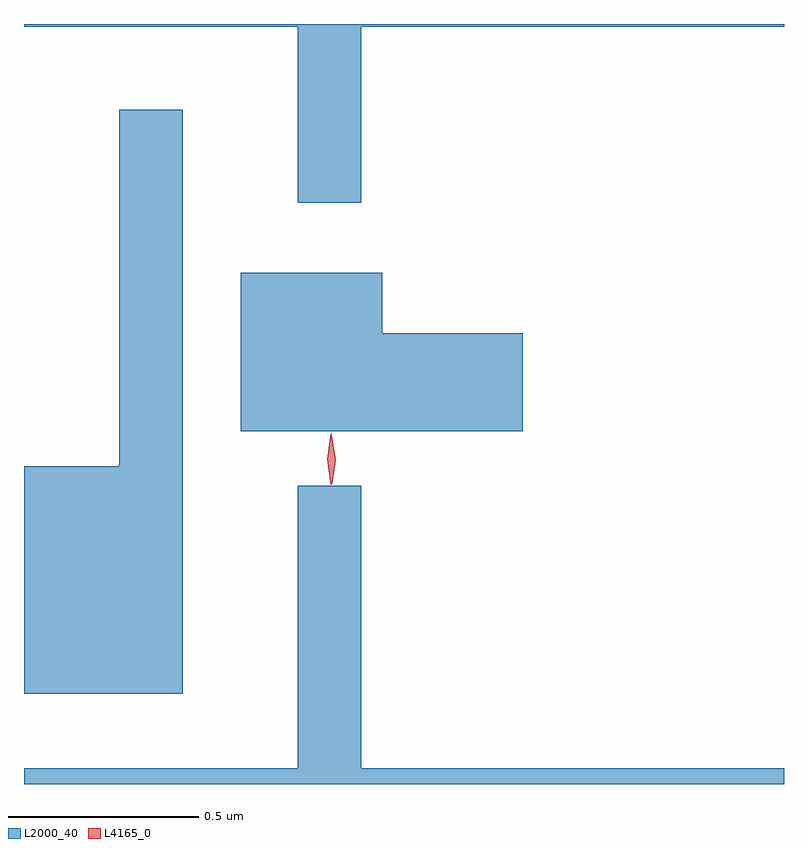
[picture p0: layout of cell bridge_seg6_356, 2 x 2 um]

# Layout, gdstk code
import gdstk
lib = gdstk.Library(unit=1e-6, precision=1e-09)
def P(c, l, *ps):  # polygons
    for p in ps: c.add(gdstk.Polygon(p, *l))
L2000_40 = (2000, 40)
L4165_0 = (4165, 0)

bridge_seg6_356 = lib.new_cell('bridge_seg6_356')
P(bridge_seg6_356, L2000_40, [(1282.889,1534.496),(1284.001,1534.496),(1284.001,1534.503),(1282.001,1534.503),(1282.001,1534.496),(1282.721,1534.496),(1282.721,1534.033),(1282.889,1534.033)],
  [(1282.419,1534.278),(1282.251,1534.278),(1282.251,1533.339),(1282.001,1533.339),(1282.001,1532.741),(1282.419,1532.741)],
  [(1283.314,1533.689),(1282.944,1533.689),(1282.944,1533.849),(1282.571,1533.849),(1282.571,1533.431),(1283.314,1533.431)],
  [(1284.001,1532.544),(1282.889,1532.544),(1282.889,1533.288),(1282.721,1533.288),(1282.721,1532.544),(1282.001,1532.544),(1282.001,1532.503),(1284.001,1532.503)])
P(bridge_seg6_356, L4165_0, [(1282.808,1533.29),(1282.799,1533.358),(1282.808,1533.425),(1282.809,1533.426),(1282.809,1533.425),(1282.819,1533.358),(1282.809,1533.29),(1282.809,1533.29)],
  [(1282.811,1533.293),(1282.811,1533.293),(1282.801,1533.356),(1282.81,1533.419),(1282.811,1533.42),(1282.811,1533.419),(1282.821,1533.356),(1282.812,1533.293)])

lib.write_gds('bridge_seg6_356.gds')
